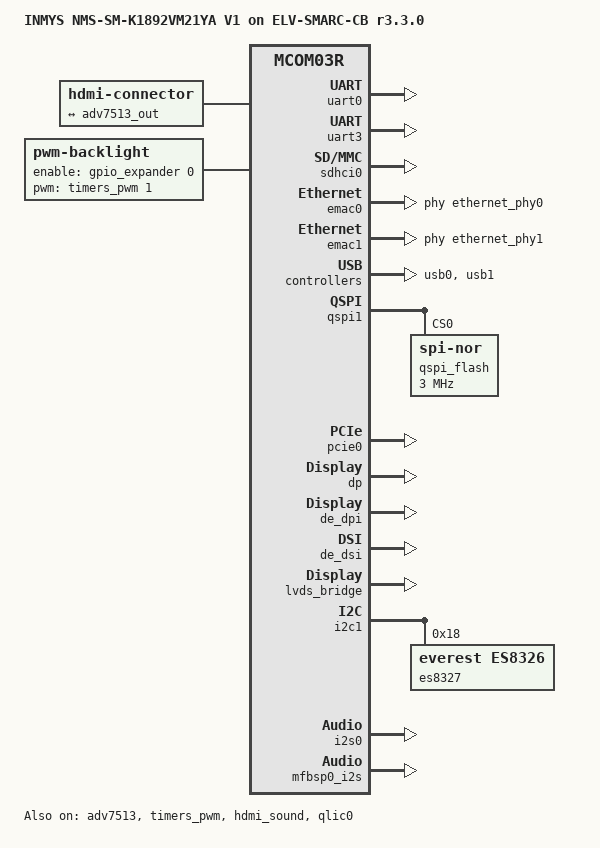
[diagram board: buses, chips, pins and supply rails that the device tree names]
// SPDX-License-Identifier: GPL-2.0+
/*
 * INMYS NMS-SM-K1892VM21YA V1 on ELV-SMARC-CB r3.3.0
 *
 * The ELV-SMARC-CB is the ELVEES reference SMARC carrier: 2x GbE, HDMI out,
 * LVDS/eDP, audio codec, 2x CAN, PCIe x4 + miniPCIe, USB, microSD.
 * Only the resources needed for bring-up are described here; the remaining
 * peripherals are added as they are validated.
 *
 * Copyright (C) 2026 INMYS
 */

/dts-v1/;

#include <dt-bindings/clock/mcom03-clock.h>
#include <dt-bindings/gpio/gpio.h>
#include <dt-bindings/pwm/pwm.h>

#include "nms-sm-k1892vm21ya.dtsi"

/ {
	model = "INMYS NMS-SM-K1892VM21YA V1 on ELV-SMARC-CB r3.3.0";
	compatible = "inmys,nms-sm-elvsmarccb",
		     "inmys,nms-sm-k1892vm21ya",
		     "inmys,nms-sm-k1892",
		     "elvees,mcom03r";

	chosen {
		stdout-path = "serial0:115200n8";
	};

	aliases {
		ethernet0 = &emac0;
		ethernet1 = &emac1;
	};

	/* HDMI receptacle on the carrier, fed from the module's ADV7513 */
	hdmi_connector: hdmi-connector {
		compatible = "hdmi-connector";
		label = "hdmi";
		type = "a";

		port {
			hdmi_connector_in: endpoint {
				remote-endpoint = <&adv7513_out>;
			};
		};
	};

	/*
	 * Analog audio.  The ELV-SMARC-CB carries an Everest ES8327 (DD1)
	 * on the carrier, behind the SMARC I2S0 and I2C_GP pins.  The SoC's
	 * MFBSP0 is the I2S controller that reaches those pins (S38..S42 ->
	 * MFBSP0_LCLK / LDAT1 / LDAT2 / LDAT3), so it is the CPU side of the
	 * link and stays the bitclock/frame master, exactly as the ELVEES
	 * reference device tree does it for this carrier.
	 */
	analog_audio: analog-audio {
		compatible = "simple-audio-card";
		simple-audio-card,name = "analog-audio";
		simple-audio-card,format = "i2s";
		simple-audio-card,bitclock-master = <&analog_dailink_master>;
		simple-audio-card,frame-master = <&analog_dailink_master>;
		simple-audio-card,continuous-clock;

		analog_dailink_master: simple-audio-card,cpu {
			sound-dai = <&mfbsp0_i2s>;
		};

		simple-audio-card,codec {
			sound-dai = <&es8327>;
		};
	};

	/* XP6 backlight connector, enabled by LCD0_BKLT_EN (expander P0_0) */
	backlight: backlight {
		compatible = "pwm-backlight";
		pwms = <&timers_pwm 1 2000000 PWM_POLARITY_INVERTED>;
		enable-gpios = <&gpio_expander 0 GPIO_ACTIVE_HIGH>;
		brightness-levels = <100 90 80 70 60 50 40 30 20 10 1 0>;
		default-brightness-level = <10>;
		status = "disabled";
	};
};

/* SER1_DBG, USB Type-C debug UART */
&uart0 {
	status = "okay";
};

&uart3 {
	status = "okay";
};

/*
 * microSD socket XS6 (SDIO).  3.3 V only; the clock pad drive strength has
 * to be raised on this PCB, as in the ELVEES reference device tree.
 */
&sdhci0 {
	status = "okay";
	sdhci-caps-mask = <0x7 0x4000000>;
	sdhci-caps = <0x0 0x0>;
	elvees,drive-strength-clk = <6>;

	/*
	 * SDHCI 3.0 only allows even clock dividers, so with the 125 MHz base
	 * clock a 50 MHz request becomes 125/4 = 31.25 MHz (125/2 = 62.5 MHz
	 * is too fast).  Dropping the base clock to 100 MHz makes divider 2
	 * land exactly on 50 MHz.
	 */
	assigned-clocks = <&hsperiph_clocks CLK_HSP_UCG1_SDMMC0_XIN>;
	assigned-clock-rates = <100000000>;
};

/* Ethernet (RJ45 XS2/XS3) */
&emac0 {
	status = "okay";
	phy-handle = <&ethernet_phy0>;
};

&emac1 {
	status = "okay";
	phy-handle = <&ethernet_phy1>;
};

&usb0 {
	status = "okay";
};

&usb1 {
	status = "okay";
};

/*
 * QSPI1 flash socket XS7 (SOIC-8, ACA-SPI-004), powered from 1V8_SF-0 and
 * routed through the module's RS2299 crossbar D31/D32.  The crossbar is
 * selected by QSPI_SPI# = PCAL6416A P0_4: 1 = QSPI1, 0 = SPI1.  U-Boot sets
 * it before probing the socket; the kernel only has to keep the pads in
 * 1.8 V mode, which is what qspi1_default_18 does.
 */
&qspi1 {
	status = "okay";
	pinctrl-0 = <&qspi1_default_18>;

	qspi_flash: spi-nor@0 {
		#address-cells = <1>;
		#size-cells = <1>;
		compatible = "jedec,spi-nor", "spi-flash";
		reg = <0x0>;
		/* Highest frequency for the IC installed into the socket */
		spi-max-frequency = <3000000>;
		m25p,fast-read;
	};
};

&qspi1_default {
	/*
	 * Max clock frequency is 1 MHz with the default pad drive strength;
	 * this raises it to 3 MHz.
	 */
	clk {
		drive-strength = <10>;
	};
};

/* PCIe x4 slot and miniPCIe */
&pcie0 {
	status = "okay";
};

/* ------------------------------------------------------------------ */
/* Display                                                            */
/* ------------------------------------------------------------------ */

/*
 * Both display bridges sit on the module (D19 ADV7513 for HDMI, D10
 * SN65DSI84 for LVDS); the carrier only routes the SMARC HDMI and LVDS pins
 * to its receptacles, so nothing but the connector and the panel has to be
 * described here.
 */
&dp {
	status = "okay";
};

/* Parallel RGB path: Mali-DP -> DPI -> ADV7513 -> HDMI receptacle */
&de_dpi {
	status = "okay";
};

&adv7513 {
	status = "okay";

	ports {
		port@1 {
			reg = <1>;

			adv7513_out: endpoint {
				remote-endpoint = <&hdmi_connector_in>;
			};
		};
	};
};

/* MIPI DSI path: Mali-DP -> DSI -> SN65DSI84 -> LVDS panel on XP7 */
&de_dsi {
	status = "okay";
};

&lvds_bridge {
	status = "okay";
};

&lvds_panel {
	status = "okay";
	backlight = <&backlight>;
};

&timers_pwm {
	status = "okay";
	pinctrl-names = "default";
	pinctrl-0 = <&timer1_toggle_mux>;
};

&backlight {
	status = "okay";
};


/*
 * Audio codec ES8327 (DD1) on the carrier.
 *
 * Wiring, traced from the ELV-SMARC-CB r3.3.0 netlist:
 *   CCLK/CDATA (32/31) -> R14/R15 -> I2C_GP   -> this bus, address 0x18
 *   CE         (30)    -> R13 -> AGND        -> address select = 0
 *   SCLK/LRCK/SDIN/SDOUT -> SMARC S42/S39/S40/S41 -> MFBSP0
 *   MCLK       (1)     -> R16 <- SMARC S38, and R12 <- carrier G1 12 MHz
 *   INTOUT     (10)    -> DD29 -> SMARC P118 -> GPIO0_PORTD_1
 *
 * S38 is not connected on this module, so the 12 MHz master clock always
 * comes from the carrier's own oscillator.
 *
 * The jack-detect interrupt is deliberately not described: gpio0d is not
 * declared as an interrupt controller in mcom03r.dtsi (only bank A of each
 * GPIO controller is), and the GIC SPI numbers of bank D are not documented
 * anywhere in the SDK.  Guessing them would either fail loudly or, worse,
 * claim an SPI that belongs to another peripheral.  The es8326 driver
 * tolerates a missing IRQ - it warns and keeps going - so playback and
 * capture work, only headset detection is unavailable until the mapping is
 * confirmed against the SoC manual.
 *
 * The everest,mic*-src properties are carried over from the ELVEES device
 * tree for this carrier; the 6.18 driver does not read them yet, but they
 * document the board and will be honoured if the driver grows support.
 */
&i2c1 {
	es8327: codec@18 {
		compatible = "everest,es8326";
		reg = <0x18>;

		clocks = <&audio_mclk>;
		clock-names = "mclk";
		#sound-dai-cells = <0>;

		everest,mic1-src = [22];
		everest,mic2-src = [44];
		everest,jack-pol = [0e];
		everest,interrupt-src = [08];
		everest,interrupt-clk = [45];
	};
};

/* HDMI audio: SoC I2S0 -> ADV7513 on the module */
&i2s0 {
	status = "okay";
};

&hdmi_sound {
	status = "okay";
};

/*
 * QLIC0 is the interrupt controller of the service subsystem, where MFBSP0
 * and MFBSP1 live.  mcom03r.dtsi leaves it disabled, so without this the
 * mfbsp-i2s driver never gets its DMA interrupts, never probes, and the
 * analog-audio card fails to bind ("parse error").  The ELVEES reference
 * device tree for this carrier enables it for exactly the same reason.
 */
&qlic0 {
	status = "okay";
};

/* Analog audio: SoC MFBSP0 -> ES8327 on the carrier */
&mfbsp0_i2s {
	status = "okay";
};

&audio_mclk {
	status = "okay";
};
